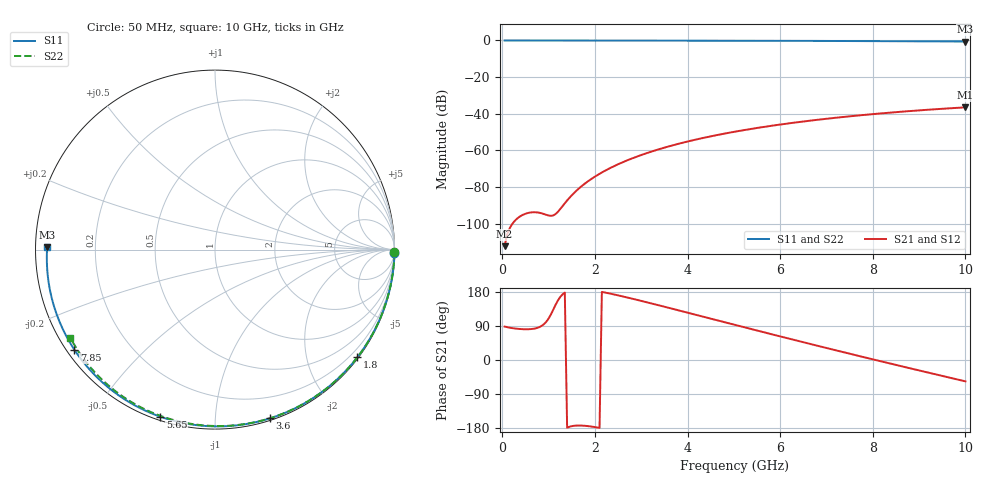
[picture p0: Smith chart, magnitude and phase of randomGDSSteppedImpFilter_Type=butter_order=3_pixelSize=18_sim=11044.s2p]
! freq	dB(S11)	phase(S11)	dB(S12)	phase(S12)
!  dB(S21)	phase(S21)	dB(S22)	phase(S22)
!S-par simulation data
#  GHz  S  DB  R 50
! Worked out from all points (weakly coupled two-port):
!   200 points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, 50 MHz to 10 GHz, reference 50 ohm
!   highest |S21| = -36.53 dB at 10 GHz (marker M1); lowest = -112.3 dB at 50 MHz (marker M2)
!   lowest |S11| = -0.6 dB at 10 GHz (marker M3), VSWR 29.88, Z = 1.67 + j0.333 ohm
!   |S11| at or under -10 dB: nowhere
!   |S22| runs from -0.5 to 0.0 dB; largest |S21 - S12| = 0
!   S11 on the Smith chart (normalised r, x): 50 MHz: open; 1.8 GHz: 0.03, -2.98; 3.6 GHz: 0.02, -1.38; 5.65 GHz: 0.02, -0.72; 7.85 GHz: 0.02, -0.32; 10 GHz: 0.03, +0.01
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0.05  -0.00 -1.1  -112.32 88.3  -112.32 88.3  -0.00 -0.9
0.8  -0.02 -16.7  -94.08 86.8  -94.08 86.8  -0.02 -13.6
1.2  -0.03 -24.9  -93.57 157.0  -93.57 157.0  -0.03 -20.4
1.65  -0.04 -34.1  -80.89 -172.9  -80.89 -172.9  -0.04 -27.9
1.7  -0.04 -35.1  -79.81 -173.0  -79.81 -173.0  -0.04 -28.7
1.75  -0.05 -36.1  -78.79 -173.3  -78.79 -173.3  -0.04 -29.5
1.8  -0.05 -37.1  -77.82 -173.8  -77.82 -173.8  -0.04 -30.4
2.1  -0.05 -43.1  -72.80 -179.2  -72.80 -179.2  -0.04 -35.3
2.5  -0.07 -51.0  -67.61 170.6  -67.61 170.6  -0.05 -41.8
2.9  -0.08 -58.7  -63.47 159.0  -63.47 159.0  -0.06 -48.2
3.4  -0.09 -68.2  -59.27 143.7  -59.27 143.7  -0.07 -56.1
3.6  -0.10 -71.9  -57.81 137.5  -57.81 137.5  -0.08 -59.2
4.3  -0.12 -84.6  -53.43 115.5  -53.43 115.5  -0.10 -69.9
5.05  -0.15 -97.9  -49.68 91.9  -49.68 91.9  -0.12 -81.0
5.65  -0.18 -108.1  -47.19 73.1  -47.19 73.1  -0.15 -89.7
6.15  -0.21 -116.5  -45.38 57.6  -45.38 57.6  -0.17 -96.8
6.7  -0.24 -125.6  -43.62 40.8  -43.62 40.8  -0.20 -104.4
7.3  -0.29 -135.5  -41.94 22.6  -41.94 22.6  -0.24 -112.6
7.85  -0.34 -144.5  -40.57 6.2  -40.57 6.2  -0.28 -120.0
8.35  -0.39 -152.7  -39.46 -8.6  -39.46 -8.6  -0.33 -126.6
9.2  -0.48 -166.9  -37.81 -33.4  -37.81 -33.4  -0.41 -137.9
10  -0.58 179.2  -36.53 -56.3  -36.53 -56.3  -0.50 -148.6
